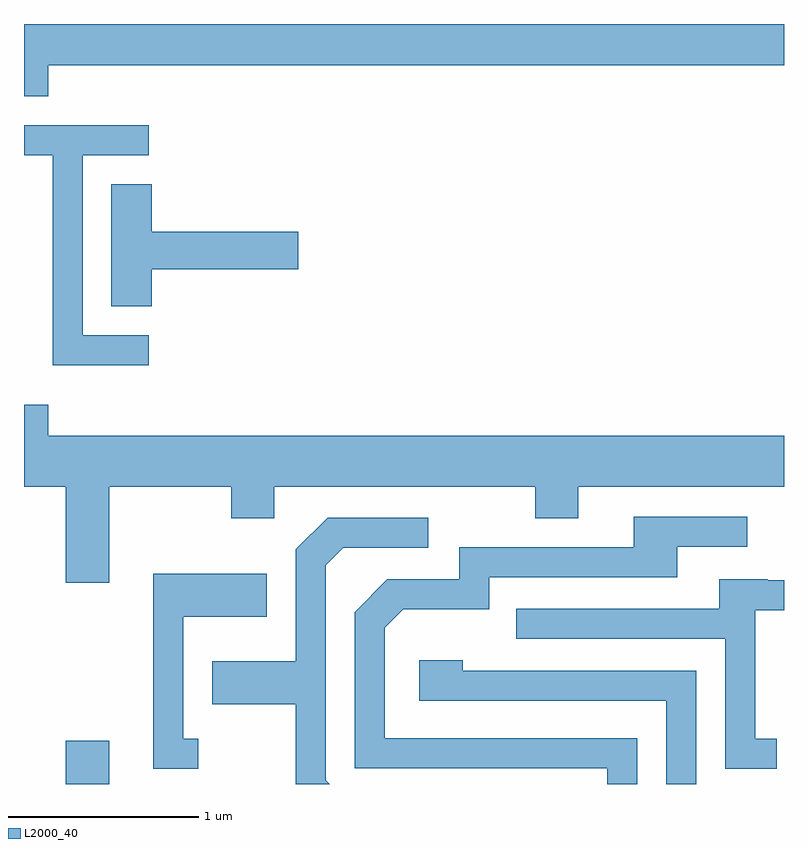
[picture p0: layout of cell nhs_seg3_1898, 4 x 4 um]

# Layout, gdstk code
import gdstk
lib = gdstk.Library(unit=1e-6, precision=1e-09)
def R(c, l, rs):  # rectangles x0, y0, x1, y1
    for r in rs: c.add(gdstk.rectangle(r[:2], r[2:], *l))
def P(c, l, *ps):  # polygons
    for p in ps: c.add(gdstk.Polygon(p, *l))
L2000_40 = (2000, 40)

nhs_seg3_1898 = lib.new_cell('nhs_seg3_1898')
R(nhs_seg3_1898, L2000_40, [(239.831,1239.892,240.059,1240.119)])
P(nhs_seg3_1898, L2000_40, [(239.739,1243.676),(243.611,1243.676),(243.611,1243.892),(239.611,1243.892),(239.611,1243.511),(239.739,1243.511)],
  [(240.268,1242.254),(239.919,1242.254),(239.919,1243.201),(240.268,1243.201),(240.268,1243.359),(239.611,1243.359),(239.611,1243.201),(239.761,1243.201),(239.761,1242.096),(240.268,1242.096)],
  [(240.284,1242.601),(241.054,1242.601),(241.054,1242.799),(240.284,1242.799),(240.284,1243.049),(240.071,1243.049),(240.071,1242.406),(240.284,1242.406)],
  [(240.059,1241.456),(240.701,1241.456),(240.701,1241.291),(240.929,1241.291),(240.929,1241.456),(242.301,1241.456),(242.301,1241.291),(242.529,1241.291),(242.529,1241.456),(243.611,1241.456),(243.611,1241.724),(239.739,1241.724),(239.739,1241.889),(239.611,1241.889),(239.611,1241.456),(239.831,1241.456),(239.831,1240.951),(240.059,1240.951)],
  [(242.839,1240.134),(241.509,1240.134),(241.509,1240.714),(241.607,1240.811),(242.059,1240.811),(242.059,1240.981),(243.049,1240.981),(243.049,1241.141),(243.418,1241.141),(243.418,1241.299),(242.821,1241.299),(242.821,1241.139),(241.901,1241.139),(241.901,1240.969),(241.524,1240.969),(241.351,1240.797),(241.351,1239.976),(242.681,1239.976),(242.681,1239.892),(242.839,1239.892)],
  [(241.199,1239.912),(241.199,1241.044),(241.292,1241.136),(241.738,1241.136),(241.738,1241.294),(241.209,1241.294),(241.041,1241.127),(241.041,1240.539),(240.601,1240.539),(240.601,1240.311),(241.041,1240.311),(241.041,1239.892),(241.219,1239.892)],
  [(240.528,1240.129),(240.449,1240.129),(240.449,1240.771),(240.889,1240.771),(240.889,1240.999),(240.291,1240.999),(240.291,1239.971),(240.528,1239.971)],
  [(243.573,1240.129),(243.459,1240.129),(243.459,1240.806),(243.611,1240.806),(243.611,1240.964),(243.525,1240.964),(243.525,1240.969),(243.271,1240.969),(243.271,1240.814),(242.203,1240.814),(242.203,1240.656),(243.301,1240.656),(243.301,1239.971),(243.573,1239.971)],
  [(243.149,1240.489),(241.919,1240.489),(241.919,1240.544),(241.691,1240.544),(241.691,1240.331),(242.991,1240.331),(242.991,1239.892),(243.149,1239.892)])

lib.write_gds('nhs_seg3_1898.gds')
